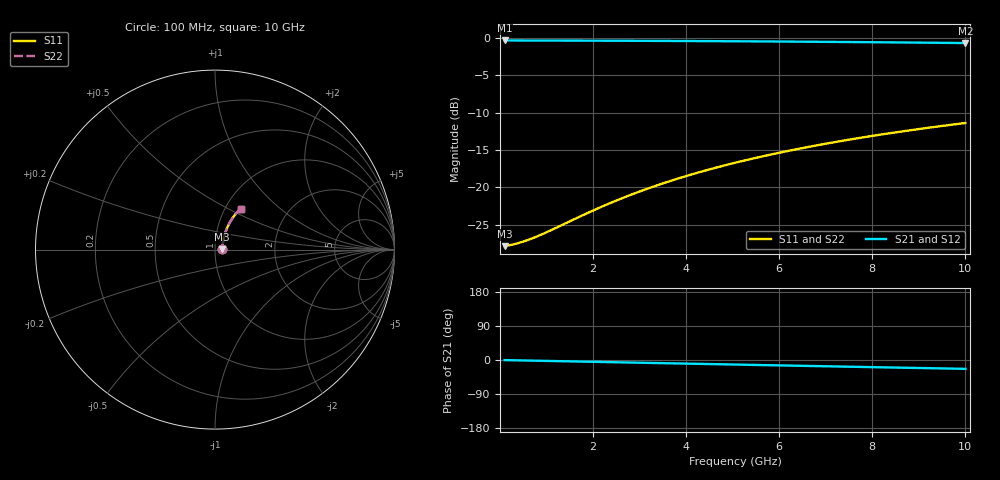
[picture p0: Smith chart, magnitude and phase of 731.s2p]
# Hz S RI R 50.00
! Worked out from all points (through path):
!   100 points, 100 MHz to 10 GHz, reference 50 ohm
!   highest |S21| = -0.36 dB at 100 MHz (marker M1); lowest = -0.7 dB at 10 GHz (marker M2)
!   group delay of S21, straight-line fit = 6.5 ps
!   lowest |S11| = -27.8 dB at 100 MHz (marker M3), VSWR 1.08, Z = 54.2 + j0.287 ohm
!   |S11| at or under -10 dB: start of sweep to end of sweep
!   |S22| runs from -27.8 to -11.4 dB; largest |S21 - S12| = 0
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1e8  0.0405 0.00265  0.9595 -0.00401  0.9595 -0.00401  0.0405 0.00265
3e8  0.041 0.00793  0.959 -0.012  0.959 -0.012  0.041 0.00793
4e8  0.0412 0.0106  0.9588 -0.016  0.9588 -0.016  0.0412 0.0106
5e8  0.0414 0.0132  0.9585 -0.02  0.9585 -0.02  0.0414 0.0132
7e8  0.0419 0.0185  0.958 -0.028  0.958 -0.028  0.0419 0.0185
1e9  0.0427 0.0263  0.9572 -0.04  0.9572 -0.04  0.0427 0.0263
1.8e9  0.0457 0.0472  0.954 -0.0718  0.954 -0.0718  0.0457 0.0472
2.2e9  0.0476 0.0575  0.9519 -0.0876  0.9519 -0.0876  0.0476 0.0575
2.6e9  0.0499 0.0678  0.9494 -0.1033  0.9494 -0.1033  0.0499 0.0678
3e9  0.0525 0.0779  0.9466 -0.119  0.9466 -0.119  0.0525 0.0779
3.4e9  0.0554 0.088  0.9435 -0.1345  0.9435 -0.1345  0.0554 0.088
3.8e9  0.0586 0.0979  0.94 -0.1499  0.94 -0.1499  0.0586 0.0979
4.2e9  0.0621 0.1077  0.9362 -0.1651  0.9362 -0.1651  0.0621 0.1077
4.6e9  0.0659 0.1173  0.932 -0.1803  0.932 -0.1803  0.0659 0.1173
5.1e9  0.0712 0.1291  0.9263 -0.1989  0.9263 -0.1989  0.0712 0.1291
5.5e9  0.0757 0.1384  0.9214 -0.2137  0.9214 -0.2137  0.0757 0.1384
5.9e9  0.0804 0.1475  0.9162 -0.2283  0.9162 -0.2283  0.0804 0.1475
6.7e9  0.0908 0.1651  0.9048 -0.2569  0.9048 -0.2569  0.0908 0.1651
7.5e9  0.1022 0.1818  0.8923 -0.2846  0.8923 -0.2846  0.1022 0.1818
8.4e9  0.1162 0.1996  0.8769 -0.3148  0.8769 -0.3148  0.1162 0.1996
9.2e9  0.1295 0.2143  0.8622 -0.3406  0.8622 -0.3406  0.1295 0.2143
1e10  0.1436 0.2281  0.8466 -0.3654  0.8466 -0.3654  0.1436 0.2281
